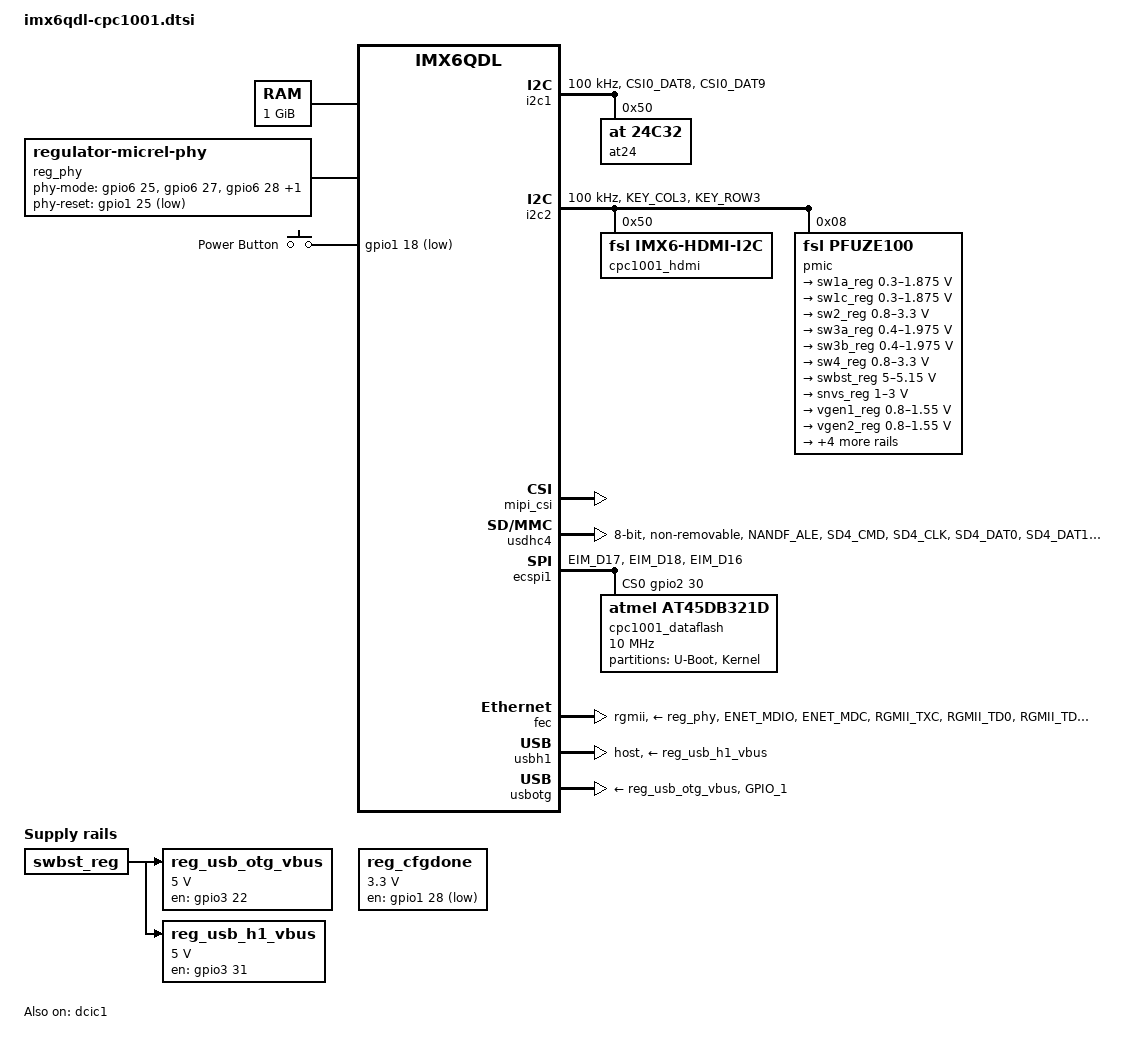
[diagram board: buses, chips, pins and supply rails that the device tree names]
/*
 * Copyright 2012 Freescale Semiconductor, Inc.
 * Copyright 2011 Linaro Ltd.
 *
 * The code contained herein is licensed under the GNU General Public
 * License. You may obtain a copy of the GNU General Public License
 * Version 2 or later at the following locations:
 *
 * http://www.opensource.org/licenses/gpl-license.html
 * http://www.gnu.org/copyleft/gpl.html
 */

#include <dt-bindings/input/input.h>
#include <dt-bindings/gpio/gpio.h>

/ {
	aliases {
		mxcfb0 = &mxcfb1;
		mxcfb1 = &mxcfb2;
		mxcfb2 = &mxcfb3;
		mxcfb3 = &mxcfb4;
	};

	memory {
		reg = <0x10000000 0x40000000>;
	};

	regulators_cpc1001 {
		compatible = "simple-bus";

		reg_usb_otg_vbus: usb_otg_vbus {
			compatible = "regulator-fixed";
			regulator-name = "usb_otg_vbus";
			regulator-min-microvolt = <5000000>;
			regulator-max-microvolt = <5000000>;
			gpio = <&gpio3 22 GPIO_ACTIVE_HIGH>;
			enable-active-high;
			vin-supply = <&swbst_reg>;
		};

		reg_usb_h1_vbus: usb_h1_vbus {
			compatible = "regulator-fixed";
			regulator-name = "usb_h1_vbus";
			regulator-min-microvolt = <5000000>;
			regulator-max-microvolt = <5000000>;
			gpio = <&gpio3 31 GPIO_ACTIVE_HIGH>;
			enable-active-high;
			vin-supply = <&swbst_reg>;
		};

		reg_phy: phy {
			compatible = "regulator-micrel-phy";
			regulator-name = "phy";
			regulator-min-microvolt = <1800000>;
			regulator-max-microvolt = <1800000>;
			phy-mode-gpios = <&gpio6 25 GPIO_ACTIVE_HIGH>,
					 <&gpio6 27 GPIO_ACTIVE_HIGH>,
					 <&gpio6 28 GPIO_ACTIVE_HIGH>,
					 <&gpio6 29 GPIO_ACTIVE_HIGH>;
			phy-mode-off = <0x7>;
			phy-mode-on = <0xe>;
			phy-reset-gpio = <&gpio1 25 GPIO_ACTIVE_LOW>;
			pinctrl-names = "default", "state-powerdown";
			pinctrl-0 = <&pinctrl_phy_on>;
			pinctrl-1 = <&pinctrl_phy_off>;
			startup-delay-us = <1000>;
		};

		reg_cfgdone: cfgdone {
			compatible = "regulator-fixed";
			regulator-name = "nCFGDONE";
			regulator-min-microvolt = <3300000>;
			regulator-max-microvolt = <3300000>;
			gpio = <&gpio1 28 GPIO_ACTIVE_HIGH>;
			regulator-boot-on;
			regulator-always-on;
		};
	};

	gpio-keys {
		compatible = "gpio-keys";
		status = "okay";
		power {
			label = "Power Button";
			gpios = <&gpio1 18 GPIO_ACTIVE_LOW>;
			linux,code = <KEY_POWER>;
			gpio-key,wakeup;
			debounce-interval = <50>;
		};
	};

	sound-hdmi {
		compatible = "fsl,imx6q-audio-hdmi",
			     "fsl,imx-audio-hdmi";
		model = "imx-audio-hdmi";
		hdmi-controller = <&hdmi_audio>;
	};

	mxcfb1: fb@0 {
		compatible = "fsl,mxc_sdc_fb";
		disp_dev = "ldb";
		interface_pix_fmt = "RGB24";
		mode_str ="800x600M@60";
		default_bpp = <32>;
		int_clk = <0>;
		late_init = <0>;
		status = "okay";
	};

	mxcfb2: fb@1 {
		compatible = "fsl,mxc_sdc_fb";
		disp_dev = "hdmi";
		interface_pix_fmt = "RGB24";
		mode_str ="1920x1080M@60";
		default_bpp = <24>;
		int_clk = <0>;
		late_init = <0>;
		status = "disabled";
	};

	mxcfb3: fb@2 {
		compatible = "fsl,mxc_sdc_fb";
		disp_dev = "lcd";
		interface_pix_fmt = "RGB565";
		mode_str ="CLAA-WVGA";
		default_bpp = <16>;
		int_clk = <0>;
		late_init = <0>;
		status = "disabled";
	};

	mxcfb4: fb@3 {
		compatible = "fsl,mxc_sdc_fb";
		disp_dev = "ldb";
		interface_pix_fmt = "RGB666";
		default_bpp = <16>;
		int_clk = <0>;
		late_init = <0>;
		status = "disabled";
	};


	v4l2_cap_0 {
		compatible = "fsl,imx6q-v4l2-capture";
		ipu_id = <0>;
		csi_id = <0>;
		mclk_source = <0>;
		status = "okay";
	};

	v4l2_cap_1 {
		compatible = "fsl,imx6q-v4l2-capture";
		ipu_id = <0>;
		csi_id = <1>;
		mclk_source = <0>;
		status = "okay";
	};

	v4l2_out {
		compatible = "fsl,mxc_v4l2_output";
		status = "okay";
	};
};

/* Audio */

&audmux {
	status = "disabled";
};

/* Watchdog */

&wdog1 {
	status = "disabled";
};

&wdog2 {
	status = "disabled";
};

/* I2C bus */

&i2c1 {
	clock-frequency = <100000>;
	pinctrl-names = "default";
	pinctrl-0 = <&pinctrl_i2c1_2>;
	status = "okay";

	at24@50 {
		compatible = "at,24c32";
		pagesize = <32>;
		reg = <0x50>;
	};
};

&i2c2 {
	clock-frequency = <100000>;
	pinctrl-names = "default";
	pinctrl-0 = <&pinctrl_i2c2_2>;
	status = "okay";

	cpc1001_hdmi: edid@50 {
		compatible = "fsl,imx6-hdmi-i2c";
		reg = <0x50>;
	};

	pmic: pfuze100@08 {
		compatible = "fsl,pfuze100";
		reg = <0x08>;
		status = "okay";

		regulators {
			sw1a_reg: sw1ab {
				regulator-min-microvolt = <300000>;
				regulator-max-microvolt = <1875000>;
				regulator-boot-on;
				regulator-always-on;
				regulator-ramp-delay = <6250>;
			};

			sw1c_reg: sw1c {
				regulator-min-microvolt = <300000>;
				regulator-max-microvolt = <1875000>;
				regulator-boot-on;
				regulator-always-on;
				regulator-ramp-delay = <6250>;
			};

			sw2_reg: sw2 {
				regulator-min-microvolt = <800000>;
				regulator-max-microvolt = <3300000>;
				regulator-boot-on;
				regulator-always-on;
			};

			sw3a_reg: sw3a {
				regulator-min-microvolt = <400000>;
				regulator-max-microvolt = <1975000>;
				regulator-boot-on;
				regulator-always-on;
			};

			sw3b_reg: sw3b {
				regulator-min-microvolt = <400000>;
				regulator-max-microvolt = <1975000>;
				regulator-boot-on;
				regulator-always-on;
			};

			sw4_reg: sw4 {
				regulator-min-microvolt = <800000>;
				regulator-max-microvolt = <3300000>;
				regulator-boot-on;
				regulator-always-on;
			};

			swbst_reg: swbst {
				regulator-min-microvolt = <5000000>;
				regulator-max-microvolt = <5150000>;
				regulator-boot-on;
				regulator-always-on;
			};

			snvs_reg: vsnvs {
				regulator-min-microvolt = <1000000>;
				regulator-max-microvolt = <3000000>;
				regulator-boot-on;
				regulator-always-on;
			};

			vref_reg: vrefddr {
				regulator-boot-on;
				regulator-always-on;
			};

			vgen1_reg: vgen1 {
				regulator-min-microvolt = <800000>;
				regulator-max-microvolt = <1550000>;
			};

			vgen2_reg: vgen2 {
				regulator-min-microvolt = <800000>;
				regulator-max-microvolt = <1550000>;
			};

			vgen3_reg: vgen3 {
				regulator-min-microvolt = <1800000>;
				regulator-max-microvolt = <3300000>;
			};

			vgen4_reg: vgen4 {
				regulator-min-microvolt = <1800000>;
				regulator-max-microvolt = <3300000>;
			};

			vgen5_reg: vgen5 {
				regulator-min-microvolt = <1800000>;
				regulator-max-microvolt = <3300000>;
				regulator-boot-on;
				regulator-always-on;
			};

			vgen6_reg: vgen6 {
				regulator-min-microvolt = <1800000>;
				regulator-max-microvolt = <3300000>;
				regulator-always-on;
				regulator-boot-on;
			};
		};
	};
};

&i2c3 {
        clock-frequency = <100000>;
        pinctrl-names = "default";
        pinctrl-0 = <&pinctrl_i2c3_2>;
        status = "disabled";
};

/* MIPI CSI */

&mipi_csi {
	status = "okay";
	ipu_id = <0>;
	csi_id = <1>;
	v_channel = <0>;
	lanes = <2>;
};

/* PWM */

&pwm1 {
	pinctrl-names = "default";
	pinctrl-0 = <&pinctrl_pwm1_1>;
	status = "disabled";
};

&pwm2 {
	pinctrl-names = "default";
	pinctrl-0 = <&pinctrl_pwm2_1>;
	status = "disabled";
};

&ssi2 {
	fsl,mode = "i2s-slave";
	status = "disabled";
};

/* UART */

&uart1 {
	pinctrl-names = "default";
	pinctrl-0 = <&pinctrl_uart1_1>;
	status = "disabled";
};

&uart2 {
	pinctrl-names = "default";
	pinctrl-0 = <&pinctrl_uart2_1>;
	fsl,uart-has-rtscts;
	status = "disabled";
};

&uart3 {
	pinctrl-names = "default";
	pinctrl-0 = <&pinctrl_uart3_1>;
	status = "disabled";
};

/* SD/MMC */

&usdhc2 {
	pinctrl-names = "default";
	pinctrl-0 = <&pinctrl_usdhc2_2_50MHz_40Ohm>;
	status = "disabled";
};

&usdhc3 {
	pinctrl-names = "default";
	pinctrl-0 = <&pinctrl_usdhc3_2>;
	status = "disabled";
};

/* Onboard eMMC */
&usdhc4 {
	pinctrl-names = "default";
	pinctrl-0 = <&pinctrl_usdhc4_1>;
	bus-width = <8>;
	disable-wp;
	non-removable;
	keep-power-in-suspend;
	status = "okay";
};

/* SPI */

&ecspi1 {
	fsl,spi-num-chipselects = <2>;
	cs-gpios = <&gpio2 30 GPIO_ACTIVE_HIGH>, <&gpio3 19 GPIO_ACTIVE_HIGH>;
	pinctrl-names = "default";
	pinctrl-0 = <&pinctrl_ecspi1_1>;
	status = "okay";

	cpc1001_dataflash: at45db321d@0 {
		reg = <0>;
		#address-cells = <1>;
		#size-cells = <1>;
		compatible = "atmel,at45db321d", "atmel,at45", "atmel,dataflash";
		spi-max-frequency = <10000000>;

		partition@0 {
			label = "U-Boot";
			reg = <0x0 0x40320>;
			read-only;
		};

		partition@40000 {
			label = "Kernel";
			reg = <0x40320 0x3dfce0>;
		};
	};
};

&ecspi2 {
	fsl,spi-num-chipselects = <2>;
	cs-gpios = <&gpio2 26 GPIO_ACTIVE_HIGH>, <&gpio2 27 GPIO_ACTIVE_HIGH>;
	pinctrl-names = "default";
	pinctrl-0 = <&pinctrl_ecspi2_1>;
	status = "disabled";
};


/* FEC */

&fec {
	compatible = "fsl,imx6q-fec";
	pinctrl-0 = <&pinctrl_enet_4>;
	pinctrl-1 = <&pinctrl_enet_4_sleep>;
	pinctrl-names = "default", "sleep";
	phy-mode = "rgmii";
	max-speed = <1000>;
	phy-supply = <&reg_phy>;
	status = "okay";
};

&iomuxc {

	pkmfec {
		pinctrl_enet_4: pkmfec-1 {
			fsl,pins = <
				MX6QDL_PAD_ENET_MDIO__ENET_MDIO       0x1b0b0
				MX6QDL_PAD_ENET_MDC__ENET_MDC         0x1b0b0
				MX6QDL_PAD_RGMII_TXC__RGMII_TXC       0x1b0b0
				MX6QDL_PAD_RGMII_TD0__RGMII_TD0       0x1b030
				MX6QDL_PAD_RGMII_TD1__RGMII_TD1       0x1b030
				MX6QDL_PAD_RGMII_TD2__RGMII_TD2       0x1b030
				MX6QDL_PAD_RGMII_TD3__RGMII_TD3       0x1b030
				MX6QDL_PAD_RGMII_TX_CTL__RGMII_TX_CTL 0x1b0b0
				MX6QDL_PAD_ENET_REF_CLK__ENET_TX_CLK  0x1b0b0
				MX6QDL_PAD_RGMII_RXC__RGMII_RXC       0x1b0b0
				MX6QDL_PAD_RGMII_RX_CTL__RGMII_RX_CTL 0x1b0b0
			>;
		};

		pinctrl_enet_4_sleep: pkmfec-1-sleep {
			fsl,pins = <
				MX6QDL_PAD_ENET_MDIO__ENET_MDIO       0x1b0b0
				MX6QDL_PAD_ENET_MDC__ENET_MDC         0x1b0b0
				MX6QDL_PAD_RGMII_TXC__RGMII_TXC       0x1b0b0
				MX6QDL_PAD_RGMII_TD0__RGMII_TD0       0x1b030
				MX6QDL_PAD_RGMII_TD1__RGMII_TD1       0x1b030
				MX6QDL_PAD_RGMII_TD2__RGMII_TD2       0x1b030
				MX6QDL_PAD_RGMII_TD3__RGMII_TD3       0x1b030
				MX6QDL_PAD_RGMII_TX_CTL__RGMII_TX_CTL 0x1b0b0
				MX6QDL_PAD_ENET_REF_CLK__ENET_TX_CLK  0x1b0b0
				MX6QDL_PAD_RGMII_RXC__RGMII_RXC       0x1b0b0
				MX6QDL_PAD_RGMII_RX_CTL__RGMII_RX_CTL 0x1b0b0
			>;
		};

	};

	reg_phy {
		pinctrl_phy_on: phy_on {
			fsl,pins = <
				MX6QDL_PAD_RGMII_RD0__RGMII_RD0       0x1b030
				MX6QDL_PAD_RGMII_RD1__RGMII_RD1       0x1b030
				MX6QDL_PAD_RGMII_RD2__RGMII_RD2       0x1b030
				MX6QDL_PAD_RGMII_RD3__RGMII_RD3       0x1b030
			>;
		};

		pinctrl_phy_off: phy_off {
			fsl,pins = <
				MX6QDL_PAD_RGMII_RD0__GPIO6_IO25      0x1b030
				MX6QDL_PAD_RGMII_RD1__GPIO6_IO27      0x1b030
				MX6QDL_PAD_RGMII_RD2__GPIO6_IO28      0x1b030
				MX6QDL_PAD_RGMII_RD3__GPIO6_IO29      0x1b030
			>;
		};
	};

	uart1 {
		pinctrl_uart1_1: uart1grp-1 {
			fsl,pins = <
				MX6QDL_PAD_CSI0_DAT10__UART1_TX_DATA 0x1b0b1
				MX6QDL_PAD_CSI0_DAT11__UART1_RX_DATA 0x1b0b1
			>;
		};
	};

	uart2 {
		pinctrl_uart2_1: uart2grp-1 {
			fsl,pins = <
				MX6QDL_PAD_EIM_D26__UART2_TX_DATA 0x1b0b1
				MX6QDL_PAD_EIM_D27__UART2_RX_DATA 0x1b0b1
			>;
		};
	};

	uart3 {
		pinctrl_uart3_1: uart3grp-1 {
			fsl,pins = <
				MX6QDL_PAD_EIM_D24__UART3_TX_DATA 0x1b0b1
				MX6QDL_PAD_EIM_D25__UART3_RX_DATA 0x1b0b1
			>;
		};
	};

	pwm1 {
		pinctrl_pwm1_1: pwm1grp-1 {
			fsl,pins = <
				MX6QDL_PAD_SD1_DAT3__PWM1_OUT 0x1b0b1
			>;
		};
	};

	pwm2 {
		pinctrl_pwm2_1: pwm2grp-1 {
			fsl,pins = <
				MX6QDL_PAD_SD1_DAT2__PWM2_OUT 0x1b0b1
			>;
		};
	};

	usbotg {
		pinctrl_usbotg_1: usbotggrp-1 {
			fsl,pins = <
				MX6QDL_PAD_GPIO_1__USB_OTG_ID 0x17059
			>;
		};
	};

	hdmi_cec {
		pinctrl_hdmi_cec_2: hdmicecgrp-2 {
			fsl,pins = <
				MX6QDL_PAD_KEY_ROW2__HDMI_TX_CEC_LINE 0x1f8b0
			>;
		};
	};

	flexcan1 {
		pinctrl_flexcan1_2: flexcan1grp-2 {
			fsl,pins = <
				MX6QDL_PAD_GPIO_7__FLEXCAN1_TX   0x80000000
				MX6QDL_PAD_KEY_ROW2__FLEXCAN1_RX 0x80000000
			>;
		};
	};

	flexcan2 {
		pinctrl_flexcan2_1: flexcan2grp-1 {
			fsl,pins = <
				MX6QDL_PAD_KEY_COL4__FLEXCAN2_TX 0x80000000
				MX6QDL_PAD_KEY_ROW4__FLEXCAN2_RX 0x80000000
			>;
		};
	};

	i2c1 {
		pinctrl_i2c1_2: i2c1grp-2 {
			fsl,pins = <
				MX6QDL_PAD_CSI0_DAT8__I2C1_SDA 0x4001b8b1
				MX6QDL_PAD_CSI0_DAT9__I2C1_SCL 0x4001b8b1
			>;
		};
	};

	i2c2 {
		pinctrl_i2c2_2: i2c2grp-2 {
			fsl,pins = <
				MX6QDL_PAD_KEY_COL3__I2C2_SCL 0x4001b8b1
				MX6QDL_PAD_KEY_ROW3__I2C2_SDA 0x4001b8b1
			>;
		};
	};

	i2c3 {
		pinctrl_i2c3_2: i2c3grp-2 {
			fsl,pins = <
				MX6QDL_PAD_GPIO_3__I2C3_SCL 0x4001b8b1
				MX6QDL_PAD_GPIO_6__I2C3_SDA 0x4001b8b1
			>;
		};
	};

	usdhc2 {
		pinctrl_usdhc2_2_50MHz_40Ohm: usdhc2grp-2-50MHz-40Ohm {
			fsl,pins = <
				MX6QDL_PAD_SD2_CMD__SD2_CMD    0x17071
				MX6QDL_PAD_SD2_CLK__SD2_CLK    0x10071
				MX6QDL_PAD_SD2_DAT0__SD2_DATA0 0x17071
				MX6QDL_PAD_SD2_DAT1__SD2_DATA1 0x17071
				MX6QDL_PAD_SD2_DAT2__SD2_DATA2 0x17071
				MX6QDL_PAD_SD2_DAT3__SD2_DATA3 0x17071
			>;
		};
	};

	usdhc3 {
		pinctrl_usdhc3_2: usdhc3grp-2 {
			fsl,pins = <
				MX6QDL_PAD_SD3_CMD__SD3_CMD    0x17059
				MX6QDL_PAD_SD3_CLK__SD3_CLK    0x10059
				MX6QDL_PAD_SD3_DAT0__SD3_DATA0 0x17059
				MX6QDL_PAD_SD3_DAT1__SD3_DATA1 0x17059
				MX6QDL_PAD_SD3_DAT2__SD3_DATA2 0x17059
				MX6QDL_PAD_SD3_DAT3__SD3_DATA3 0x17059
			>;
		};
	};

	usdhc4 {
		pinctrl_usdhc4_1: usdhc4grp-1 {
			fsl,pins = <
				MX6QDL_PAD_NANDF_ALE__SD4_RESET 0x1b0b0
				MX6QDL_PAD_SD4_CMD__SD4_CMD    0x17059
				MX6QDL_PAD_SD4_CLK__SD4_CLK    0x10059
				MX6QDL_PAD_SD4_DAT0__SD4_DATA0 0x17059
				MX6QDL_PAD_SD4_DAT1__SD4_DATA1 0x17059
				MX6QDL_PAD_SD4_DAT2__SD4_DATA2 0x17059
				MX6QDL_PAD_SD4_DAT3__SD4_DATA3 0x17059
				MX6QDL_PAD_SD4_DAT4__SD4_DATA4 0x17059
				MX6QDL_PAD_SD4_DAT5__SD4_DATA5 0x17059
				MX6QDL_PAD_SD4_DAT6__SD4_DATA6 0x17059
				MX6QDL_PAD_SD4_DAT7__SD4_DATA7 0x17059
			>;
		};
	};

	ecspi1 {
		pinctrl_ecspi1_1: ecspi1grp-1 {
			fsl,pins = <
				MX6QDL_PAD_EIM_D17__ECSPI1_MISO 0x100b1
				MX6QDL_PAD_EIM_D18__ECSPI1_MOSI 0x100b1
				MX6QDL_PAD_EIM_D16__ECSPI1_SCLK 0x100b1
			>;
		};
	};

	ecspi2 {
		pinctrl_ecspi2_1: ecspi2grp-1 {
			fsl,pins = <
				MX6QDL_PAD_EIM_CS0__ECSPI2_SCLK 0x100b1
				MX6QDL_PAD_EIM_CS1__ECSPI2_MOSI 0x100b1
				MX6QDL_PAD_EIM_OE__ECSPI2_MISO  0x100b1
			>;
		};
	};

	onyx08_can1 {
		pinctrl_flexcan1_3: flexcan1grp-3 {
			fsl,pins = <
				MX6QDL_PAD_GPIO_7__FLEXCAN1_TX   0x1b0b0
				MX6QDL_PAD_GPIO_8__FLEXCAN1_RX   0x1b0b0
			>;
		};
	};

	pcie {
		pinctrl_pcie: pcie_grp {
			fsl,pins = <
				MX6QDL_PAD_EIM_A19__GPIO2_IO19	0x1b0b0		/* nPCIE_RST */
				MX6QDL_PAD_KEY_COL2__GPIO4_IO10	0x1b0b0		/* nPCIE_WAKE */
			>;
		};
	};
};

/* CPU */

&cpu0 {
	arm-supply = <&reg_arm>;
	soc-supply = <&reg_soc>;
	pu-supply = <&reg_pu>;
};

&gpc {
	fsl,cpu_pupscr_sw2iso = <0xf>;
	fsl,cpu_pupscr_sw = <0xf>;
	fsl,cpu_pdnscr_iso2sw = <0x1>;
	fsl,cpu_pdnscr_iso = <0x1>;
	fsl,ldo-bypass = <0>; /* use ldo-bypass, u-boot will check it and configure */
	fsl,wdog-reset = <1>; /* watchdog select of reset source */
	pu-supply = <&reg_pu>; /* ldo-bypass:use pu_dummy if VDDSOC share with VDDPU */
};

&vpu {
	pu-supply = <&reg_pu>; /* ldo-bypass:use pu_dummy if VDDSOC share with VDDPU */
};

//&gpu {
//	pu-supply = <&reg_pu>; /* ldo-bypass:use pu_dummy if VDDSOC share with VDDPU */
//};

/* USB */

&usbh1 {
	vbus-supply = <&reg_usb_h1_vbus>;
	dr_mode = "host";
	status = "okay";
};

&usbotg {
	vbus-supply = <&reg_usb_otg_vbus>;
	pinctrl-names = "default";
	pinctrl-0 = <&pinctrl_usbotg_1>;
	disable-over-current;
	status = "okay";
};

/* PCIe */

&pcie {
	pinctrl-names = "default";
	pinctrl-0 = <&pinctrl_pcie>;
	wake-up-gpio = <&gpio4 10 GPIO_ACTIVE_HIGH>;
	reset-gpio = <&gpio2 19 GPIO_ACTIVE_HIGH>;
	status = "disabled";
};

/* HDMI */

&dcic1 {
	dcic_id = <0>;
	dcic_mux = "dcic-hdmi";
	status = "okay";
};

&hdmi_audio {
	status = "disabled";
};

&hdmi_cec {
	pinctrl-names = "default";
	pinctrl-0 = <&pinctrl_hdmi_cec_2>;
	status = "disabled";
};

&hdmi_core {
	ipu_id = <0>;
	disp_id = <1>;
	status = "disabled";
};

&hdmi_video {
	fsl,phy_reg_vlev = <0x0294>;
	fsl,phy_reg_cksymtx = <0x800d>;
	status = "disabled";
};

/* SATA */

&sata {
	status = "disabled";
};

/* LDB */

/* CAN */

&can1 {
	pinctrl-names = "default";
	pinctrl-0 = <&pinctrl_flexcan1_3>;
	trx-nerr-gpio = <&gpio2 4 GPIO_ACTIVE_HIGH>;
	status = "disabled";
};

&can2 {
	pinctrl-names = "default";
	pinctrl-0 = <&pinctrl_flexcan2_1>;
	trx-nerr-gpio = <&gpio2 5 GPIO_ACTIVE_HIGH>;
	status = "disabled";
};
